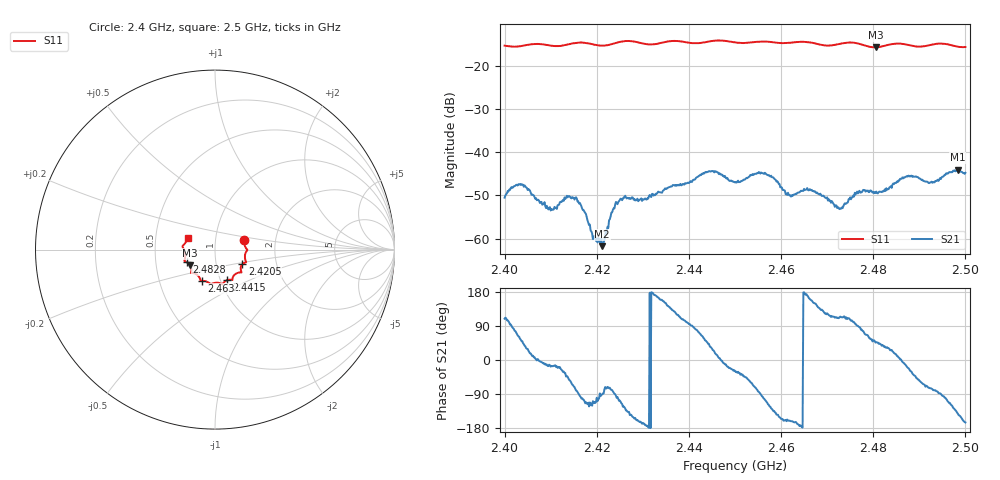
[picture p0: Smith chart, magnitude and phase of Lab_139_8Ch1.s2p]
# Hz S RI R 50
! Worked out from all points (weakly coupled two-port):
!   601 points, 2.4 GHz to 2.5 GHz, reference 50 ohm
!   highest |S21| = -43.99 dB at 2.4983 GHz (marker M1); lowest = -61.7 dB at 2.4212 GHz (marker M2)
!   lowest |S11| = -15.7 dB at 2.4805 GHz (marker M3), VSWR 1.39, Z = 37.3 - j6.69 ohm
!   |S11| at or under -10 dB: start of sweep to end of sweep
!   S12 and S22 are empty: the file has one direction only
!   S11 on the Smith chart (normalised r, x): 2.4 GHz: 1.38, +0.15; 2.4205 GHz: 1.34, -0.23; 2.4415 GHz: 1.07, -0.38; 2.463 GHz: 0.82, -0.29; 2.4828 GHz: 0.72, -0.10; 2.5 GHz: 0.73, +0.10
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2.4e9  0.1637 0.0517  -0.000973 0.00282  0 0  0 0
2.4035e9  0.1692 0.0141  0.00248 0.00337  0 0  0 0
2.409833e9  0.172 -0.0145  0.00225 -0.00055  0 0  0 0
2.413833e9  0.1687 -0.0561  0.00205 -0.00231  0 0  0 0
2.416667e9  0.1731 -0.07  -0.000477 -0.00232  0 0  0 0
2.4205e9  0.1521 -0.0819  -0.000201 -0.000968  0 0  0 0
2.421167e9  0.1479 -0.0872  -1.4e-05 -0.000818  0 0  0 0
2.424667e9  0.1453 -0.1194  -0.000604 -0.00258  0 0  0 0
2.433333e9  0.1004 -0.1513  -0.00339 0.000903  0 0  0 0
2.4415e9  0.0657 -0.1709  0.000831 0.00495  0 0  0 0
2.4455e9  0.0419 -0.1915  0.00541 0.00224  0 0  0 0
2.45e9  0.0241 -0.1861  0.00392 -0.00215  0 0  0 0
2.456167e9  -0.0218 -0.1905  -0.00103 -0.00559  0 0  0 0
2.463e9  -0.0724 -0.1736  -0.00313 -0.000863  0 0  0 0
2.466667e9  -0.0821 -0.1668  -0.00337 0.00145  0 0  0 0
2.472667e9  -0.1239 -0.1305  -0.000828 0.00203  0 0  0 0
2.4765e9  -0.133 -0.1257  -3.38e-05 0.0035  0 0  0 0
2.4805e9  -0.1391 -0.0873  0.00235 0.00243  0 0  0 0
2.482833e9  -0.1585 -0.0698  0.00323 0.00206  0 0  0 0
2.483333e9  -0.1623 -0.068  0.00319 0.00194  0 0  0 0
2.498333e9  -0.1619 0.0425  -0.00491 -0.00397  0 0  0 0
2.5e9  -0.1526 0.0645  -0.00558 -0.00152  0 0  0 0
